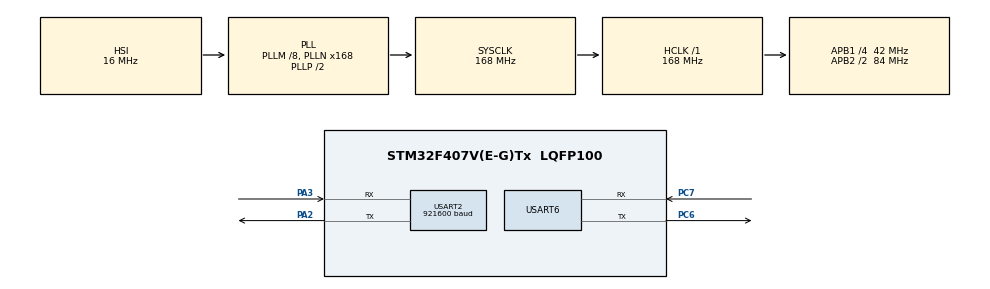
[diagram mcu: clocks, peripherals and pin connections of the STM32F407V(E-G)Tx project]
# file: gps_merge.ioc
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Dma.Request0=USART6_RX
Dma.USART6_RX.0.Direction=DMA_PERIPH_TO_MEMORY
Dma.USART6_RX.0.FIFOMode=DMA_FIFOMODE_DISABLE
Dma.USART6_RX.0.Instance=DMA2_Stream1
Dma.USART6_RX.0.MemDataAlignment=DMA_MDATAALIGN_BYTE
Dma.USART6_RX.0.MemInc=DMA_MINC_ENABLE
Dma.USART6_RX.0.Mode=DMA_CIRCULAR
Dma.USART6_RX.0.PeriphDataAlignment=DMA_PDATAALIGN_BYTE
Dma.USART6_RX.0.PeriphInc=DMA_PINC_DISABLE
Dma.USART6_RX.0.Priority=DMA_PRIORITY_LOW
Mcu.Family=STM32F4
Mcu.Name=STM32F407V(E-G)Tx
Mcu.Package=LQFP100
NVIC.DMA2_Stream1_IRQn=true\:0\:0\:false\:false\:true\:false
NVIC.PriorityGroup=NVIC_PRIORITYGROUP_4
NVIC.TIM6_DAC_IRQn=true\:0\:0\:false\:false\:true\:true
NVIC.TIM7_IRQn=true\:0\:0\:false\:false\:true\:true
NVIC.USART2_IRQn=true\:0\:0\:false\:false\:true\:true
NVIC.USART6_IRQn=true\:0\:0\:false\:false\:true\:true
PA13.Mode=Serial_Wire
PA13.Signal=SYS_JTMS-SWDIO
PA14.Mode=Serial_Wire
PA14.Signal=SYS_JTCK-SWCLK
PA2.Mode=Asynchronous
PA2.Signal=USART2_TX
PA3.Mode=Asynchronous
PA3.Signal=USART2_RX
PC6.Mode=Asynchronous
PC6.Signal=USART6_TX
PC7.Mode=Asynchronous
PC7.Signal=USART6_RX
PH0-OSC_IN.Mode=HSE-External-Oscillator
PH0-OSC_IN.Signal=RCC_OSC_IN
PH1-OSC_OUT.Mode=HSE-External-Oscillator
PH1-OSC_OUT.Signal=RCC_OSC_OUT
ProjectManager.HeapSize=0x200
ProjectManager.StackSize=0x4000
ProjectManager.TargetToolchain=EWARM
RCC.48MHZClocksFreq_Value=84000000
RCC.AHBFreq_Value=168000000
RCC.APB1CLKDivider=RCC_HCLK_DIV4
RCC.APB1Freq_Value=42000000
RCC.APB1TimFreq_Value=84000000
RCC.APB2CLKDivider=RCC_HCLK_DIV2
RCC.APB2Freq_Value=84000000
RCC.APB2TimFreq_Value=168000000
RCC.CortexFreq_Value=168000000
RCC.HCLKFreq_Value=168000000
RCC.HSE_VALUE=25000000
RCC.HSI_VALUE=16000000
RCC.LSE_VALUE=32768
RCC.PLLM=8
RCC.PLLN=168
RCC.SYSCLKFreq_VALUE=168000000
RCC.SYSCLKSource=RCC_SYSCLKSOURCE_PLLCLK
RCC.VCOOutputFreq_Value=336000000
TIM6.Period=999
TIM6.Prescaler=83
TIM7.Period=9999
TIM7.Prescaler=8399
USART2.BaudRate=921600
USART2.VirtualMode=VM_ASYNC
USART6.VirtualMode=VM_ASYNC
VP_TIM6_VS_ClockSourceINT.Mode=Enable_Timer
VP_TIM7_VS_ClockSourceINT.Mode=Enable_Timer
board=gps_merge

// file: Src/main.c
/**
  ******************************************************************************
  * File Name          : main.c
  * Description        : Main program body
  ******************************************************************************
  ** This notice applies to any and all portions of this file
  * that are not between comment pairs USER CODE BEGIN and
  * USER CODE END. Other portions of this file, whether
  * inserted by the user or by software development tools
  * are owned by their respective copyright owners.
  *
  * COPYRIGHT(c) 2017 STMicroelectronics
  *
  * Redistribution and use in source and binary forms, with or without modification,
  * are permitted provided that the following conditions are met:
  *   1. Redistributions of source code must retain the above copyright notice,
  *      this list of conditions and the following disclaimer.
  *   2. Redistributions in binary form must reproduce the above copyright notice,
  *      this list of conditions and the following disclaimer in the documentation
  *      and/or other materials provided with the distribution.
  *   3. Neither the name of STMicroelectronics nor the names of its contributors
  *      may be used to endorse or promote products derived from this software
  *      without specific prior written permission.
  *
  * THIS SOFTWARE IS PROVIDED BY THE COPYRIGHT HOLDERS AND CONTRIBUTORS "AS IS"
  * AND ANY EXPRESS OR IMPLIED WARRANTIES, INCLUDING, BUT NOT LIMITED TO, THE
  * IMPLIED WARRANTIES OF MERCHANTABILITY AND FITNESS FOR A PARTICULAR PURPOSE ARE
  * DISCLAIMED. IN NO EVENT SHALL THE COPYRIGHT HOLDER OR CONTRIBUTORS BE LIABLE
  * FOR ANY DIRECT, INDIRECT, INCIDENTAL, SPECIAL, EXEMPLARY, OR CONSEQUENTIAL
  * DAMAGES (INCLUDING, BUT NOT LIMITED TO, PROCUREMENT OF SUBSTITUTE GOODS OR
  * SERVICES; LOSS OF USE, DATA, OR PROFITS; OR BUSINESS INTERRUPTION) HOWEVER
  * CAUSED AND ON ANY THEORY OF LIABILITY, WHETHER IN CONTRACT, STRICT LIABILITY,
  * OR TORT (INCLUDING NEGLIGENCE OR OTHERWISE) ARISING IN ANY WAY OUT OF THE USE
  * OF THIS SOFTWARE, EVEN IF ADVISED OF THE POSSIBILITY OF SUCH DAMAGE.
  *
  ******************************************************************************
  */

#include "main.h"
#include "stm32f4xx_hal.h"
#include "dma.h"
#include "tim.h"
#include "usart.h"
#include "gpio.h"

/* USER CODE BEGIN Includes */
#include "gps.h"
#include "string.h"
/* USER CODE END Includes */

/* USER CODE BEGIN PV */
/* Private variables ---------------------------------------------------------*/
uint16_t loop_counter;
int count = 0;

/* USER CODE END PV */

void SystemClock_Config(void);

/* USER CODE BEGIN PFP */
/* Private function prototypes -----------------------------------------------*/

/* USER CODE END PFP */

int main(void)
{

  /* MCU Configuration----------------------------------------------------------*/

  /* Reset of all peripherals, Initializes the Flash interface and the Systick. */
  HAL_Init();

  /* Configure the system clock */
  SystemClock_Config();

  /* Initialize all configured peripherals */
  MX_GPIO_Init();
  MX_DMA_Init();
  MX_TIM6_Init();
  MX_TIM7_Init();
  MX_USART2_UART_Init();
  MX_USART6_UART_Init();

  /* USER CODE BEGIN 2 */
  HAL_TIM_Base_Start_IT(&htim6);
  HAL_TIM_Base_Start_IT(&htim7);
  gps_init();
  HAL_UART_Receive_DMA(&huart6, data_dma_receive_buff, GPS_DMA_BUFF_SIZE);
  /* USER CODE END 2 */

  /* Infinite loop */
  while (1)
  {
  }

}

/** System Clock Configuration
*/
void SystemClock_Config(void)
{

  RCC_OscInitTypeDef RCC_OscInitStruct;
  RCC_ClkInitTypeDef RCC_ClkInitStruct;

    /**Configure the main internal regulator output voltage
    */
  __HAL_RCC_PWR_CLK_ENABLE();

  __HAL_PWR_VOLTAGESCALING_CONFIG(PWR_REGULATOR_VOLTAGE_SCALE1);

    /**Initializes the CPU, AHB and APB busses clocks
    */
  RCC_OscInitStruct.OscillatorType = RCC_OSCILLATORTYPE_HSI;
  RCC_OscInitStruct.HSIState = RCC_HSI_ON;
  RCC_OscInitStruct.HSICalibrationValue = 16;
  RCC_OscInitStruct.PLL.PLLState = RCC_PLL_ON;
  RCC_OscInitStruct.PLL.PLLSource = RCC_PLLSOURCE_HSI;
  RCC_OscInitStruct.PLL.PLLM = 8;
  RCC_OscInitStruct.PLL.PLLN = 168;
  RCC_OscInitStruct.PLL.PLLP = RCC_PLLP_DIV2;
  RCC_OscInitStruct.PLL.PLLQ = 4;
  if (HAL_RCC_OscConfig(&RCC_OscInitStruct) != HAL_OK)
  {
    _Error_Handler(__FILE__, __LINE__);
  }

    /**Initializes the CPU, AHB and APB busses clocks
    */
  RCC_ClkInitStruct.ClockType = RCC_CLOCKTYPE_HCLK|RCC_CLOCKTYPE_SYSCLK
                              |RCC_CLOCKTYPE_PCLK1|RCC_CLOCKTYPE_PCLK2;
  RCC_ClkInitStruct.SYSCLKSource = RCC_SYSCLKSOURCE_PLLCLK;
  RCC_ClkInitStruct.AHBCLKDivider = RCC_SYSCLK_DIV1;
  RCC_ClkInitStruct.APB1CLKDivider = RCC_HCLK_DIV4;
  RCC_ClkInitStruct.APB2CLKDivider = RCC_HCLK_DIV2;

  if (HAL_RCC_ClockConfig(&RCC_ClkInitStruct, FLASH_LATENCY_5) != HAL_OK)
  {
    _Error_Handler(__FILE__, __LINE__);
  }

    /**Configure the Systick interrupt time
    */
  HAL_SYSTICK_Config(HAL_RCC_GetHCLKFreq()/1000);

    /**Configure the Systick
    */
  HAL_SYSTICK_CLKSourceConfig(SYSTICK_CLKSOURCE_HCLK);

  /* SysTick_IRQn interrupt configuration */
  HAL_NVIC_SetPriority(SysTick_IRQn, 0, 0);
}

/* USER CODE BEGIN 4 */
void HAL_TIM_PeriodElapsedCallback(TIM_HandleTypeDef *htim)
{
  if(htim->Instance==TIM7)
  {
    printf("test %.4d %.4d %.4d %.4d \r\n",HAL_GetTick(), gps_state.posllh_loop_counter, gps_state.velned_loop_counter, count);

    gps_state.posllh_loop_counter = 0;
    gps_state.velned_loop_counter = 0;
    count = 0;
  }
  else if(htim->Instance==TIM6)
  {
    read_gps();
    count++;

  }
}

#ifdef __GNUC__
/* With GCC, small printf (option LD Linker->Libraries->Small printf
set to 'Yes') calls __io_putchar() */
#define PUTCHAR_PROTOTYPE int __io_putchar(int ch)
#else
#define PUTCHAR_PROTOTYPE int fputc(int ch, FILE *f)
#endif /* __GNUC__ */
PUTCHAR_PROTOTYPE
{
  /* Place your implementation of fputc here */
  /* e.g. write a character to the EVAL_COM1 and Loop until the end of transmission */
  HAL_UART_Transmit(&huart2, (uint8_t *)&ch, 1, 0xFFFF);

  return ch;
}

/* USER CODE END 4 */

void _Error_Handler(char * file, int line)
{
  while(1)
  {
  }
}

/************************ (C) COPYRIGHT STMicroelectronics *****END OF FILE****/
